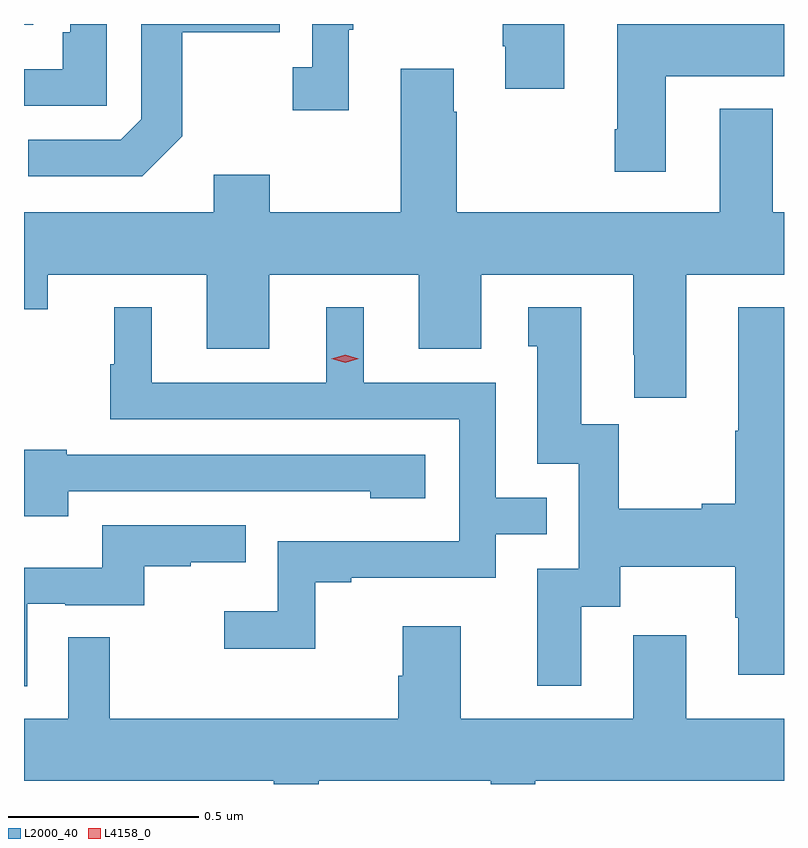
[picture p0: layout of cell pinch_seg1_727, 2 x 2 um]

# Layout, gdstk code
import gdstk
lib = gdstk.Library(unit=1e-6, precision=1e-09)
def R(c, l, rs):  # rectangles x0, y0, x1, y1
    for r in rs: c.add(gdstk.rectangle(r[:2], r[2:], *l))
def P(c, l, *ps):  # polygons
    for p in ps: c.add(gdstk.Polygon(p, *l))
L2000_40 = (2000, 40)
L4158_0 = (4158, 0)

pinch_seg1_727 = lib.new_cell('pinch_seg1_727')
R(pinch_seg1_727, L2000_40, [(648.688,573.702,648.712,573.704)])
P(pinch_seg1_727, L2000_40, [(649.105,573.409),(649.105,573.682),(649.361,573.682),(649.361,573.704),(648.996,573.704),(648.996,573.453),(648.942,573.399),(648.699,573.399),(648.699,573.303),(648.999,573.303)],
  [(650.11,573.704),(649.948,573.704),(649.948,573.646),(649.955,573.646),(649.955,573.534),(650.11,573.534)],
  [(649.543,573.689),(649.555,573.689),(649.555,573.704),(649.446,573.704),(649.446,573.59),(649.395,573.59),(649.395,573.477),(649.543,573.477)],
  [(648.906,573.704),(648.81,573.704),(648.81,573.682),(648.79,573.682),(648.79,573.585),(648.688,573.585),(648.688,573.489),(648.906,573.489)],
  [(650.377,573.566),(650.688,573.566),(650.688,573.704),(650.249,573.704),(650.249,573.427),(650.242,573.427),(650.242,573.315),(650.377,573.315)],
  [(648.688,572.954),(648.751,572.954),(648.751,573.044),(649.169,573.044),(649.169,572.85),(649.333,572.85),(649.333,573.044),(649.727,573.044),(649.727,572.85),(649.891,572.85),(649.891,573.044),(650.291,573.044),(650.291,572.833),(650.294,572.833),(650.294,572.721),(650.431,572.721),(650.431,573.044),(650.688,573.044),(650.688,573.208),(650.659,573.208),(650.659,573.481),(650.519,573.481),(650.519,573.208),(649.827,573.208),(649.827,573.473),(649.819,573.473),(649.819,573.586),(649.679,573.586),(649.679,573.208),(649.335,573.208),(649.335,573.307),(649.187,573.307),(649.187,573.208),(648.688,573.208)],
  [(649.455,572.235),(649.549,572.235),(649.549,572.247),(649.929,572.247),(649.929,572.361),(650.063,572.361),(650.063,572.457),(649.929,572.457),(649.929,572.76),(649.582,572.76),(649.582,572.959),(649.484,572.959),(649.484,572.76),(649.024,572.76),(649.024,572.959),(648.926,572.959),(648.926,572.808),(648.915,572.808),(648.915,572.664),(649.833,572.664),(649.833,572.343),(649.356,572.343),(649.356,572.158),(649.215,572.158),(649.215,572.06),(649.455,572.06)],
  [(650.155,572.17),(650.257,572.17),(650.257,572.276),(650.56,572.276),(650.56,572.142),(650.567,572.142),(650.567,571.992),(650.688,571.992),(650.688,572.959),(650.567,572.959),(650.567,572.633),(650.56,572.633),(650.56,572.441),(650.471,572.441),(650.471,572.428),(650.253,572.428),(650.253,572.651),(650.155,572.651),(650.155,572.959),(650.015,572.959),(650.015,572.856),(650.039,572.856),(650.039,572.547),(650.148,572.547),(650.148,572.271),(650.039,572.271),(650.039,571.962),(650.155,571.962)],
  [(648.805,572.475),(649.363,572.475),(649.363,572.474),(649.599,572.474),(649.599,572.456),(649.744,572.456),(649.744,572.571),(648.801,572.571),(648.801,572.584),(648.688,572.584),(648.688,572.408),(648.805,572.408)],
  [(648.696,572.178),(648.796,572.178),(648.796,572.175),(649.004,572.175),(649.004,572.277),(649.127,572.277),(649.127,572.288),(649.271,572.288),(649.271,572.385),(648.894,572.385),(648.894,572.273),(648.688,572.273),(648.688,571.961),(648.696,571.961)],
  [(649.463,571.712),(649.916,571.712),(649.916,571.704),(650.033,571.704),(650.033,571.712),(650.688,571.712),(650.688,571.876),(650.431,571.876),(650.431,572.095),(650.291,572.095),(650.291,571.876),(649.837,571.876),(649.837,572.119),(649.685,572.119),(649.685,571.989),(649.673,571.989),(649.673,571.876),(648.913,571.876),(648.913,572.09),(648.804,572.09),(648.804,571.876),(648.688,571.876),(648.688,571.712),(649.345,571.712),(649.345,571.704),(649.463,571.704)])
P(pinch_seg1_727, L4158_0, [(649.533,572.813),(649.497,572.823),(649.497,572.823),(649.497,572.823),(649.533,572.833),(649.569,572.823),(649.569,572.823),(649.569,572.823)])

lib.write_gds('pinch_seg1_727.gds')
